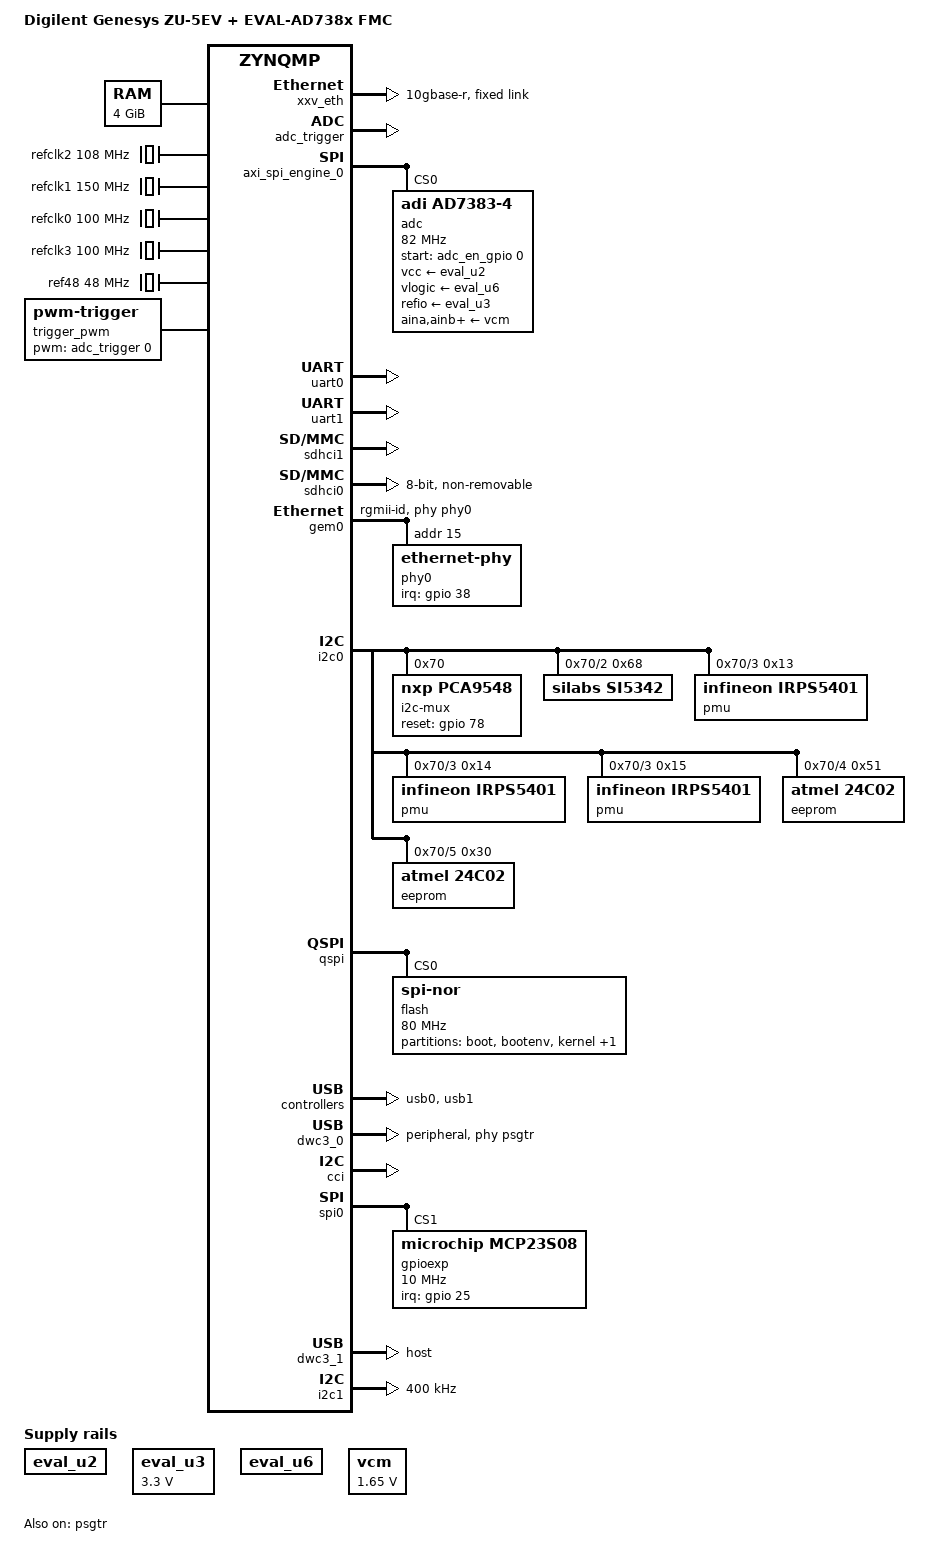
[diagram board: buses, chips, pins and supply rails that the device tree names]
// SPDX-License-Identifier: GPL-2.0
/*
 * Analog Devices AD7383-4 on Digilent Genesys ZU-5EV (Zynq UltraScale+ XCZU5EV)
 * https://www.analog.com/media/en/technical-documentation/data-sheets/ad7383-4-7384-4.pdf
 * https://wiki.analog.com/resources/tools-software/linux-drivers/iio-adc/ad738x
 * https://digilent.com/reference/programmable-logic/genesys-zu/start
 *
 * hdl_project: <ad738x_fmc/genesys_zu5ev>  (local port, not in upstream ADI hdl)
 * board_revision: <>
 *
 * Board peripheral configuration derived from the Digilent Genesys ZU OOB
 * PetaLinux project (github.com/Digilent/genesys-zu-os, 5ev/oob/master).
 * PL peripherals match the GUI build (system_bd_gui.tcl): base 0xA00xxxxx,
 * coherent HPC0 (dma-coherent on rx_dma + CCI-400 enabled).
 * IRQs: eth ps-10/11 -> GIC 106/107, ps-12 -> GIC 108, ps-13 -> GIC 109.
 *
 * Copyright (C) 2026 Analog Devices Inc.
 */
/dts-v1/;

#include "zynqmp.dtsi"
#include "zynqmp-clk-ccf.dtsi"
#include <dt-bindings/interrupt-controller/irq.h>
#include <dt-bindings/gpio/gpio.h>
#include <dt-bindings/net/ti-dp83867.h>
#include <dt-bindings/phy/phy.h>

/ {
	model = "Digilent Genesys ZU-5EV + EVAL-AD738x FMC";
	compatible = "digilent,genesys-zu-5ev", "xlnx,zynqmp";

	aliases {
		ethernet0 = &gem0;
		serial0 = &uart0;
		serial1 = &uart1;
		mmc0 = &sdhci0; /* eMMC */
		mmc1 = &sdhci1; /* microSD */
		spi0 = &qspi;
	};

	chosen {
		bootargs = "earlycon console=ttyPS0,115200 root=/dev/mmcblk1p2 rw rootwait cma=512M";
		stdout-path = "serial0:115200n8";
	};

	memory@0 {
		device_type = "memory";
		/* 4 GiB DDR4: 2 GiB low + 2 GiB high; u-boot fixes this up anyway */
		reg = <0x0 0x0 0x0 0x80000000>, <0x8 0x0 0x0 0x80000000>;
	};

	refclk2: psgtr_dp_clock {
		compatible = "fixed-clock";
		#clock-cells = <0x00>;
		clock-frequency = <108000000>;
	};

	refclk1: psgtr_sata_clock {
		compatible = "fixed-clock";
		#clock-cells = <0x00>;
		clock-frequency = <150000000>;
	};

	refclk0: psgtr_pcie_usb30_clock {
		compatible = "fixed-clock";
		#clock-cells = <0x00>;
		clock-frequency = <100000000>;
	};

	refclk3: psgtr_usb30_clock {
		compatible = "fixed-clock";
		#clock-cells = <0x00>;
		clock-frequency = <100000000>;
	};

	ref48: ref48M {
		compatible = "fixed-clock";
		#clock-cells = <0x00>;
		clock-frequency = <48000000>;
	};

	/* EVAL-AD738x supplies (fed from FMC rails) */
	eval_u2: eval-board-u2-regulator {
		compatible = "regulator-fixed";
		regulator-name = "EVAL +3.3V supply (U2)";
		regulator-always-on;
	};

	eval_u3: eval-board-u3-regulator {
		compatible = "regulator-fixed";
		regulator-name = "EVAL +3.3V supply (U3)";
		regulator-min-microvolt = <3300000>;
		regulator-max-microvolt = <3300000>;
		regulator-always-on;
	};

	eval_u6: eval-board-vlogic-regulator {
		compatible = "regulator-fixed";
		regulator-name = "EVAL VLOGIC from FMC VADJ (1.8 V, LK5 5-6)";
		regulator-always-on;
	};

	trigger_pwm: adc-pwm-trigger {
		compatible = "pwm-trigger";
		#trigger-source-cells = <0>;
		pwms = <&adc_trigger 0 10000 0>;
	};

	vcm: vcm-regulator {
		/*
		 * External source that supplies common mode voltage for
		 * negative inputs of the ADC. Assumed to be V_REF / 2.
		 */
		compatible = "regulator-fixed";
		regulator-name = "External VCM supply";
		regulator-min-microvolt = <1650000>;
		regulator-max-microvolt = <1650000>;
		regulator-always-on;
	};
};

&uart0 {
	status = "okay";
};

&uart1 {
	status = "okay";
};

&psgtr {
	status = "okay";
	clocks = <&refclk0>, <&refclk1>, <&refclk2>, <&refclk3>;
	clock-names = "ref0", "ref1", "ref2", "ref3";
};

/* microSD (boot/rootfs) — itap delays from Digilent OOB project.
 * no-1-8-v: the boot slot signals at 3.3 V through a level shifter; UHS
 * (1.8 V) negotiation "works" but corrupts the FAT on writes. Clamp to HS. */
&sdhci1 {
	status = "okay";
	disable-wp;
	no-1-8-v;
	xlnx,itap-delay-sd-hsd = <0x29>;
	xlnx,itap-delay-sd-ddr50 = <0x32>;
	xlnx,itap-delay-sdr25 = <0x2A>;
	xlnx,itap-delay-sdr50 = <0x1E>;
	xlnx,itap-delay-sdr104 = <0x0B>;
};

/* eMMC (5EV only) */
&sdhci0 {
	status = "okay";
	non-removable;
	bus-width = <8>;
};

&gem0 {
	status = "okay";
	phy-handle = <&phy0>;
	phy-mode = "rgmii-id";
	#address-cells = <1>;
	#size-cells = <0>;
	phy0: ethernet-phy@f {
		reg = <0xF>;
		reset-assert-us = <1>;
		reset-deassert-us = <200>;
		interrupt-parent = <&gpio>;
		interrupts = <38 IRQ_TYPE_LEVEL_LOW>;
		ti,rx-internal-delay = <DP83867_RGMIIDCTL_2_00_NS>;
		ti,tx-internal-delay = <DP83867_RGMIIDCTL_1_50_NS>;
		ti,fifo-depth = <DP83867_PHYCR_FIFO_DEPTH_4_B_NIB>;
		ti,clk-output-sel = <DP83867_CLK_O_SEL_REF_CLK>;
	};
};

&i2c0 {
	status = "okay";
	i2c-mux@70 {
		compatible = "nxp,pca9548";
		#address-cells = <1>;
		#size-cells = <0>;
		reg = <0x70>;
		reset-gpios = <&gpio 78 GPIO_ACTIVE_HIGH>;
		i2c-mux-idle-disconnect;

		i2c@0 {
			#address-cells = <1>;
			#size-cells = <0>;
			reg = <0>;
		};
		i2c@1 {
			#address-cells = <1>;
			#size-cells = <0>;
			reg = <1>;
		};
		i2c@2 {
			#address-cells = <1>;
			#size-cells = <0>;
			reg = <2>;
			si5342: clock-generator@68 {
				compatible = "silabs,si5342";
				reg = <0x68>;
				#clock-cells = <2>;
				#address-cells = <1>;
				#size-cells = <0>;
				clocks = <&ref48>;
				clock-names = "xtal";
				silabs,iovdd-33;

				si5342_out0: out@0 {
					reg = <0>;
					always-on;
				};

				si5342_out1: out@1 {
					reg = <1>;
					always-on;
				};
			};
		};
		i2c@3 {
			#address-cells = <1>;
			#size-cells = <0>;
			reg = <3>;
			pmu@13 { /* IRPS5401 - IC81 */
				compatible = "infineon,irps5401";
				reg = <0x13>;
			};
			pmu@14 { /* IRPS5401 - IC83 */
				compatible = "infineon,irps5401";
				reg = <0x14>;
			};
			pmu@15 { /* IRPS5401 - IC84 */
				compatible = "infineon,irps5401";
				reg = <0x15>;
			};
		};
		i2c@4 {
			#address-cells = <1>;
			#size-cells = <0>;
			reg = <4>;
			eeprom@51 { /* FMC VITA 57.1 FRU */
				compatible = "atmel,24c02";
				reg = <0x51>;
				pagesize = <1>;
			};
		};
		i2c@5 {
			#address-cells = <1>;
			#size-cells = <0>;
			reg = <5>;
			eeprom@30 { /* SYZYGY DNA */
				compatible = "atmel,24c02";
				reg = <0x30>;
				read-only;
				address-width = <16>;
				size = <65536>;
			};
		};
		i2c@6 {
			#address-cells = <1>;
			#size-cells = <0>;
			reg = <6>;
		};
		i2c@7 {
			#address-cells = <1>;
			#size-cells = <0>;
			reg = <7>;
		};
	};
};

&qspi {
	status = "okay";
	flash@0 {
		compatible = "jedec,spi-nor";
		reg = <0>;
		spi-max-frequency = <80000000>;
		spi-tx-bus-width = <1>;
		spi-rx-bus-width = <1>;
		partitions {
			compatible = "fixed-partitions";
			#address-cells = <1>;
			#size-cells = <1>;
			partition@0 {
				label = "boot";
				reg = <0x00000000 0x00100000>;
			};
			partition@1 {
				label = "bootenv";
				reg = <0x00100000 0x00040000>;
			};
			partition@2 {
				label = "kernel";
				reg = <0x00140000 0x01600000>;
			};
			partition@3 {
				label = "board-id";
				reg = <0x1FFF000 0x1000>;
				read-only;
			};
		};
	};
};

&usb0 {
	status = "okay";
	xlnx,tz-nonsecure = <1>;
	xlnx,usb-polarity = <0>;
	xlnx,usb-reset-mode = <0>;
};

&dwc3_0 {
	status = "okay";
	dr_mode = "peripheral";
	snps,usb3_lpm_capable;
	phy-names = "usb3-phy";
	phys = <&psgtr 1 PHY_TYPE_USB3 0 0>;
	snps,dis_u2_susphy_quirk;
	snps,dis_u3_susphy_quirk;
	maximum-speed = "super-speed";
	tx-fifo-resize;
};

/* PL peripherals (ad738x_fmc_genesys_zu5ev HDL project) */
/ {
	fpga_axi: fpga-axi@0 {
		interrupt-parent = <&gic>;
		compatible = "simple-bus";
		#address-cells = <0x1>;
		#size-cells = <0x1>;
		ranges = <0 0 0 0xffffffff>;

		/* 10G Ethernet over SFP+: xxv_ethernet MAC + AXI DMA, xlnx
		 * axienet driver. PCS/PMA BASE-R to the 10GBASE-T module.
		 */
		eth_mcdma: dma@a0020000 {
			compatible = "xlnx,eth-dma";
			reg = <0xa0020000 0x10000>;
			/* 32-bit: axi_mcdma c_addr_width=32, low DDR via coherent HPC0
			 * (was 40 for axi_dma). */
			xlnx,addrwidth = <0x20>;
			xlnx,include-dre;
		};

		xxv_eth: ethernet@a0060000 {
			compatible = "xlnx,xxv-ethernet-1.0";
			reg = <0xa0060000 0x10000>;
			device_type = "network";
			axistream-connected = <&eth_mcdma>;
			/* MCDMA: 1 queue, chan id 1. The driver builds IRQ names
			 * mm2s_ch1_introut / s2mm_ch1_introut and looks them up by
			 * name ON THIS node. ps-10/ps-11 = GIC 106/107. */
			xlnx,num-queues = /bits/ 16 <1>;
			xlnx,channel-ids = "1";
			interrupt-parent = <&gic>;
			interrupts = <0 106 IRQ_TYPE_LEVEL_HIGH>,
				     <0 107 IRQ_TYPE_LEVEL_HIGH>;
			interrupt-names = "mm2s_ch1_introut", "s2mm_ch1_introut";
			local-mac-address = [00 0a 35 05 a1 10];
			max-speed = <10000>;
			phy-mode = "10gbase-r";
			xlnx,rxmem = <0x6000>;
			xlnx,txcsum = <0>;
			xlnx,rxcsum = <0>;

			fixed-link {
				speed = <10000>;
				full-duplex;
			};
		};

		adc_trigger: pwm@a0050000 {
			compatible = "adi,axi-pwmgen-2.00.a";
			reg = <0xa0050000 0x1000>;
			label = "adc_conversion_trigger";
			#pwm-cells = <3>;
			clocks = <&zynqmp_clk 71>, <&spi_clk>;
			clock-names = "axi", "ext";
		};

		spi_clk: clock-controller@a0040000 {
			compatible = "adi,axi-clkgen-2.00.a";
			reg = <0xa0040000 0x1000>;
			#clock-cells = <0>;
			clocks = <&zynqmp_clk 71>, <&zynqmp_clk 71>;
			clock-names = "clkin1", "s_axi_aclk";
			clock-output-names = "spi_clk";
			assigned-clocks = <&spi_clk>;
			assigned-clock-rates = <163840000>;
		};

		rx_dma: dma-controller@a0000000 {
			compatible = "adi,axi-dmac-1.00.a";
			reg = <0xa0000000 0x1000>;
			#dma-cells = <1>;
			interrupts = <0 109 IRQ_TYPE_LEVEL_HIGH>; /* ps-13 */
			clocks = <&zynqmp_clk 71>;
			/* coherent HPC0 path: DMA writes are cache-coherent (needs CCI). */
			dma-coherent;
		};

		adc_en_gpio: gpio@a0070000 {
			compatible = "xlnx,axi-gpio-2.0", "xlnx,xps-gpio-1.00.a";
			reg = <0xa0070000 0x1000>;
			#gpio-cells = <2>;
			gpio-controller;
			xlnx,all-inputs = <0x0>;
			xlnx,all-outputs = <0x1>;
			xlnx,gpio-width = <0x1>;
			xlnx,is-dual = <0x0>;
			clocks = <&zynqmp_clk 71>;
		};

		axi_spi_engine_0: spi@a0030000 {
			compatible = "adi,axi-spi-engine-1.00.a";
			reg = <0xa0030000 0x1000>;
			interrupts = <0 108 IRQ_TYPE_LEVEL_HIGH>; /* ps-12 */
			clocks = <&zynqmp_clk 71>, <&spi_clk>;
			clock-names = "s_axi_aclk", "spi_clk";

			dmas = <&rx_dma 0>;
			dma-names = "offload0-rx";
			trigger-sources = <&trigger_pwm>;

			#address-cells = <1>;
			#size-cells = <0>;

			adc@0 {
				compatible = "adi,ad7383-4";
				reg = <0>;

				spi-cpol;
				spi-max-frequency = <82000000>;

				/* "en": gates axi_ad738x_dma/sync via axi_gpio_adc_en (PL @0xa0070000) */
				start-gpios = <&adc_en_gpio 0 GPIO_ACTIVE_HIGH>;

				/*
				 * ADI tree extension (not mainline). Must match the
				 * HDL NUM_OF_SDI build argument. Omit if =1.
				 */
				adi,num-sdi = <4>;

				vcc-supply = <&eval_u2>;
				vlogic-supply = <&eval_u6>;
				refio-supply = <&eval_u3>;

				aina-supply = <&vcm>;
				ainb-supply = <&vcm>;
				ainc-supply = <&vcm>;
				aind-supply = <&vcm>;
			};
		};
	};
};

/* Genesys ZU PS_REF_CLK crystal is 30 MHz, not the 33.33 MHz assumed by
 * zynqmp-clk-ccf.dtsi -- without this every PS clock computes 11% high.
 */
&pss_ref_clk {
	clock-frequency = <30000000>;
};

/* CCI-400: cache-coherent interconnect for the PL coherent-HPC0 DMA path
 * (rx_dma dma-coherent). zynqmp.dtsi leaves it disabled; the ADC capture
 * relies on it for coherent DMA, so enable it. */
&cci {
	status = "okay";
};

/* Onboard WiFi: Microchip WILC3000 on PS SPI0 SS0 (the wilc1000 driver
 * auto-detects the 3000 by chip id; firmware atmel/wilc3000_wifi_firmware-1.bin).
 * Its CHIP_EN/RESET/IRQ pins live on the MCP23S08 SPI GPIO expander at SS1
 * (same expander the Digilent FSBL patches drive at boot). Layout from the
 * Digilent OOB system-user.dtsi.
 */
&spi0 {
	status = "okay";

	gpioexp: gpio@1 {
		compatible = "microchip,mcp23s08";
		reg = <1>; /* SS[1] */
		spi-max-frequency = <10000000>;
		gpio-controller;
		#gpio-cells = <2>;
		microchip,spi-present-mask = <0x01>;
		interrupt-parent = <&gpio>;
		interrupts = <25 IRQ_TYPE_LEVEL_LOW>;
		interrupt-controller;
		#interrupt-cells = <2>;

		/* USB PHY/hub resets, same values the Digilent FSBL programs;
		 * the kernel driver resets the expander at probe, so hog them
		 * or no USB device ever enumerates.
		 */
		usb20-reset-hog {
			gpio-hog;
			gpios = <4 GPIO_ACTIVE_HIGH>;
			output-low; /* active-high PHY reset, idle low (FSBL DEFAULTS) */
			line-name = "usb20-reset";
		};
		usb20h-reset-hog {
			gpio-hog;
			gpios = <5 GPIO_ACTIVE_HIGH>;
			output-low; /* active-high PHY reset, idle low (FSBL DEFAULTS) */
			line-name = "usb20h-reset";
		};
		usb20-hub-resetn-hog {
			gpio-hog;
			gpios = <6 GPIO_ACTIVE_HIGH>;
			output-high;
			line-name = "usb20-hub-resetn";
		};
	};

	wifi@0 {
		/* This board revision carries an ATWINC1500 (no Linux driver),
		 * not the WILC3000 the Digilent OOB dts describes. Disabled.
		 */
		status = "disabled";
		compatible = "microchip,wilc1000";
		reg = <0>; /* SS[0] */
		spi-max-frequency = <12000000>;
		interrupt-parent = <&gpioexp>;
		interrupts = <1 IRQ_TYPE_EDGE_FALLING>;
		reset-gpios = <&gpioexp 2 GPIO_ACTIVE_LOW>;
		chip_en-gpios = <&gpioexp 0 GPIO_ACTIVE_HIGH>;
	};
};

/* PS GPIO controller: MIO pins (I2C-mux/expander IRQs) + EMIO (VADJ rescue
 * lines 114/115). zynqmp.dtsi leaves it disabled.
 */
&gpio {
	status = "okay";
};

/* USB1 = the dual Type-A host ports: USB3320 ULPI PHY + USB2513B hub
 * (hub/PHY resets are the gpioexp hogs above). USB2-only, no GTR lane.
 */
&usb1 {
	status = "okay";
};

&dwc3_1 {
	status = "okay";
	dr_mode = "host";
	maximum-speed = "high-speed";
	snps,dis_u2_susphy_quirk;
	snps,dis_u3_susphy_quirk;
};

/* Disable the AMS/system-monitor iio device: reading its PL sysmon channels
 * (e.g. via iio_info) faults -> kernel panic. The node label is xilinx_ams
 * (ams@ffa50000); plain &ams is the disabled iio-hwmon consumer, not this. */
&xilinx_ams {
	status = "disabled";
};

&i2c1 {
	status = "okay";
	clock-frequency = <400000>;
};
